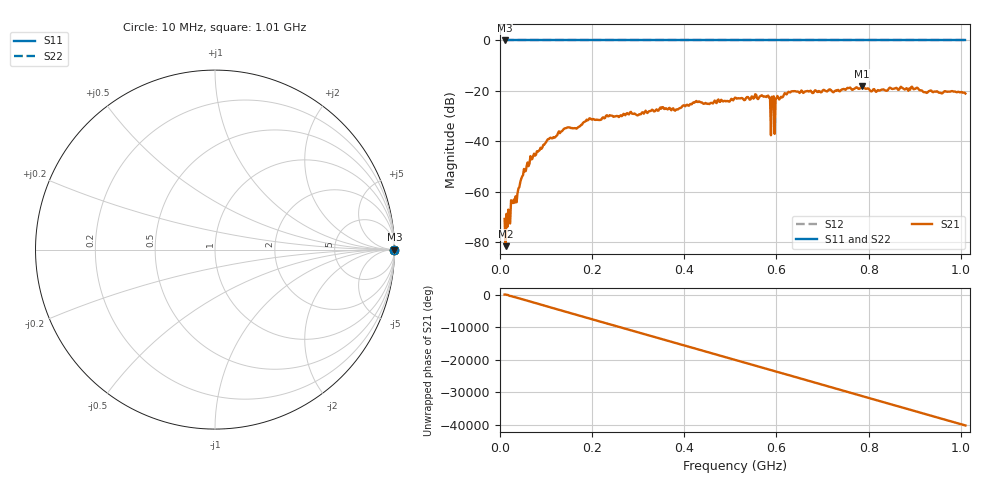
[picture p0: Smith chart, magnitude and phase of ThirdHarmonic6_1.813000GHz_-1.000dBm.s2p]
! 8/16/2025 9:58:03 PM
! C:\ANRITSUVNA\TEMP\TEMP.S2P
! CHANNEL.1
! TR.MEASUREMENT
! RAW.DATA
! RF.CORRECTION.OFF
! AVERAGING.OFF
! IF.BANDWIDTH: 5KHZ
! SWEEPTYPE:  FREQ.SWEEP(Linear)
! Reference Plane Port Info
! PORT:  PORT1  PORT2
! DISTANCE:  0  m  0  m
! TIME:  0  s  0  s
! PHASE.OFFSET:  0  deg.  0  deg.
! LOSS:  0  dB  0  dB
! REF.LOSS:  0  dB  0  dB
! REF.FREQ:  0  Hz  0  Hz
! Power Info
! POWER:  -20  dBm  -20  dBm
! EFF.POWER:  -20  dBm  -20  dBm
! SOURCE.ATTEN:  0  dB  0  dB
! TEST.ATTEN:  0  dB  0  dB
# GHZ S RI R 50.0
! FREQ.GHZ  S11RE  S11IM  S21RE  S21IM  S12RE  S12IM  S22RE  S22IM
!; PortSelection: Port_12
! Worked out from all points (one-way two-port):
!   501 points, 10 MHz to 1.01 GHz, reference 50 ohm
!   highest |S21| = -18.23 dB at 786 MHz (marker M1); lowest = -81.7 dB at 12 MHz (marker M2)
!   lowest |S11| = 0.0 dB at 10 MHz (marker M3)
!   |S11| at or under -10 dB: nowhere
!   |S22| runs from 0.0 to 0.0 dB; largest |S21 - S12| = 1.1
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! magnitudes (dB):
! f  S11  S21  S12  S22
! 10 MHz  0.0  -70.8  0.0  0.0
! 12 MHz  0.0  -81.7  0.0  0.0
! 28 MHz  0.0  -64.6  0.0  0.0
! 36 MHz  0.0  -64.2  0.0  0.0
! 48 MHz  0.0  -54.0  0.0  0.0
! 70 MHz  0.0  -47.0  0.0  0.0
! 106 MHz  0.0  -39.1  0.0  0.0
! 178 MHz  0.0  -33.4  0.0  0.0
! 344 MHz  0.0  -27.8  0.0  0.0
! 510 MHz  0.0  -22.7  0.0  0.0
! 582 MHz  0.0  -21.9  0.0  0.0
! 584 MHz  0.0  -22.7  0.0  0.0
! 590 MHz  0.0  -22.3  0.0  0.0
! 592 MHz  0.0  -22.7  0.0  0.0
! 594 MHz  0.0  -22.2  0.0  0.0
! 600 MHz  0.0  -22.9  0.0  0.0
! 602 MHz  0.0  -22.0  0.0  0.0
! 622 MHz  0.0  -21.4  0.0  0.0
! 678 MHz  0.0  -20.9  0.0  0.0
! 786 MHz  0.0  -18.2  0.0  0.0
! 844 MHz  0.0  -19.1  0.0  0.0
! 1.01 GHz  0.0  -21.1  0.0  0.0
